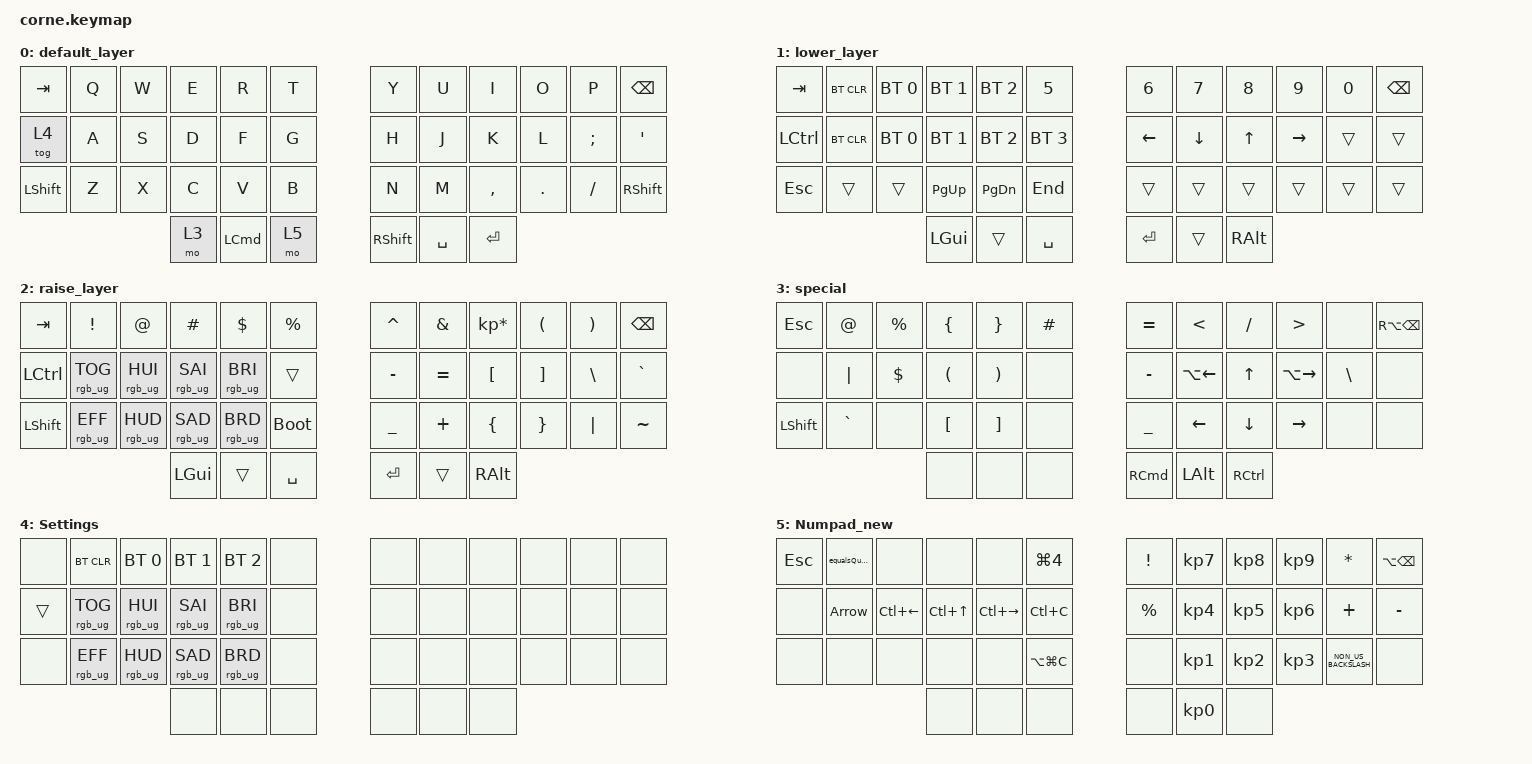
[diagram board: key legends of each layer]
/*
 * Copyright (c) 2020 The ZMK Contributors
 *
 * SPDX-License-Identifier: MIT
 */

#include <behaviors.dtsi>
#include <dt-bindings/zmk/bt.h>
#include <dt-bindings/zmk/keys.h>
#include <dt-bindings/zmk/rgb.h>

&led_strip { chain-length = <27>; };

/ {
    macros {
        equalsQuote: equalsQuote {
            compatible = "zmk,behavior-macro";
            #binding-cells = <0>;
            bindings = <&kp EQUAL &kp DQT &kp DQT &kp LEFT>;
            label = "equalsQuote";
        };

        Arrow: Arrow {
            compatible = "zmk,behavior-macro";
            #binding-cells = <0>;
            bindings = <&kp EQUAL &kp GREATER_THAN &kp SPACE>;
            label = "ARROW";
        };
    };

    keymap {
        compatible = "zmk,keymap";

        default_layer {
            // -----------------------------------------------------------------------------------------
            // |  TAB  |  Q  |  W  |  E  |  R  |  T  |   |  Y  |  U   |  I  |  O  |  P  | BKSP |
            // | GRAVE |  A  |  S  |  D  |  F  |  G  |   |  H  |  J   |  K  |  L  |  ;  |  '   |
            // | SHIFT |  Z  |  X  |  C  |  V  |  B  |   |  N  |  M   |  ,  |  .  |  /  | SHFT |
            //                     | MO3 | CMD | MO4 |   |RSHFT| SPC  | ENT |

            bindings = <
&kp TAB    &kp Q  &kp W  &kp E  &kp R             &kp T    &kp Y            &kp U      &kp I      &kp O    &kp P     &kp BSPC
&tog 4     &kp A  &kp S  &kp D  &kp F             &kp G    &kp H            &kp J      &kp K      &kp L    &kp SEMI  &kp SQT
&kp LSHFT  &kp Z  &kp X  &kp C  &kp V             &kp B    &kp N            &kp M      &kp COMMA  &kp DOT  &kp FSLH  &kp RSHFT
                         &mo 3  &kp LEFT_COMMAND  &mo 5    &kp RIGHT_SHIFT  &kp SPACE  &kp ENTER
            >;
        };

        lower_layer {
            // -----------------------------------------------------------------------------------------
            // |  TAB  | BTCLR| BT0 | BT1 | BT2 |  5  |   |  6  |  7  |  8  |  9  |  0  | BKSP |
            // | CTRL  | BTCLR| BT0 | BT1 | BT2 | BT3 |   | LFT | DWN | UP  | RGT |     |      |
            // | ESC   |      |     | PGUP| PGDN| END |   |     |     |     |     |     |      |
            //                      | GUI |     | SPC |   | ENT |     | ALT |

            bindings = <
&kp TAB    &bt BT_CLR  &bt BT_SEL 0  &bt BT_SEL 1  &bt BT_SEL 2  &kp N5          &kp N6    &kp N7    &kp N8    &kp N9     &kp N0  &kp BSPC
&kp LCTRL  &bt BT_CLR  &bt BT_SEL 0  &bt BT_SEL 1  &bt BT_SEL 2  &bt BT_SEL 3    &kp LEFT  &kp DOWN  &kp UP    &kp RIGHT  &trans  &trans
&kp ESC    &trans      &trans        &kp PG_UP     &kp PG_DN     &kp END         &trans    &trans    &trans    &trans     &trans  &trans
                                     &kp LGUI      &trans        &kp SPACE       &kp RET   &trans    &kp RALT
            >;
        };

        raise_layer {
            // -----------------------------------------------------------------------------------------
            // |  TAB  |   !   |   @   |   #   |   $   |   %   |   |   ^   |   &   |   *   |   (   |   )   | BKSP |
            // | CTRL  |RGB_TOG|RGB_HUI|RGB_SAI|RGB_BRI|       |   | MINUS | EQUAL |   [   |   ]   |   \   |  `   |
            // | SHIFT |RGB_EFF|RGB_HUD|RGB_SAD|RGB_BRD| BOOT  |   | UNDER | PLUS  |   {   |   }   |   |   |  ~   |
            //                                 | GUI |     | SPC |   | ENT   |       | ALT   |

            bindings = <
&kp TAB    &kp EXCL         &kp AT           &kp HASH         &kp DLLR         &kp PRCNT      &kp CARET  &kp AMPS   &kp KP_MULTIPLY  &kp LPAR  &kp RPAR  &kp BSPC
&kp LCTRL  &rgb_ug RGB_TOG  &rgb_ug RGB_HUI  &rgb_ug RGB_SAI  &rgb_ug RGB_BRI  &trans         &kp MINUS  &kp EQUAL  &kp LBKT         &kp RBKT  &kp BSLH  &kp GRAVE
&kp LSHFT  &rgb_ug RGB_EFF  &rgb_ug RGB_HUD  &rgb_ug RGB_SAD  &rgb_ug RGB_BRD  &bootloader    &kp UNDER  &kp PLUS   &kp LBRC         &kp RBRC  &kp PIPE  &kp TILDE
                                             &kp LGUI         &trans           &kp SPACE      &kp RET    &trans     &kp RALT
            >;
        };

        special {
            // -----------------------------------------------------------------------------------------
            // |       |   !   |   %   |   {   |   }   |     |   |       |       |       |      |     |      |
            // |       |       |   $   |   (   |   )   |     |   |       |       |  UP   |      |     |      |
            // | SHIFT |       |       |   [   |   ]   |     |   |       | LEFT  | DOWN  | RIGHT|     |      |
            //                                 |     |     |     |   | RCMD  | LALT  |       |

            bindings = <
&kp ESCAPE      &kp AT     &kp PERCENT  &kp LEFT_BRACE        &kp RIGHT_BRACE        &kp POUND    &kp EQUAL          &kp LESS_THAN  &kp SLASH          &kp GREATER_THAN  &none          &kp RA(BACKSPACE)
&none           &kp PIPE   &kp DOLLAR   &kp LEFT_PARENTHESIS  &kp RIGHT_PARENTHESIS  &none        &kp MINUS          &kp LA(LEFT)   &kp UP_ARROW       &kp LA(RIGHT)     &kp BACKSLASH  &none
&kp LEFT_SHIFT  &kp GRAVE  &none        &kp LEFT_BRACKET      &kp RIGHT_BRACKET      &none        &kp UNDER          &kp LEFT       &kp DOWN           &kp RIGHT         &none          &none
                                        &none                 &none                  &none        &kp RIGHT_COMMAND  &kp LEFT_ALT   &kp RIGHT_CONTROL
            >;
        };

        Settings {
            // -----------------------------------------------------------------------------------------
            // |       | BTCLR | BT0  | BT1  | BT2  |     |   |      |  7  |  8  |  9  |  *  |      |
            // |       |RGB_TOG|RGB_HUI|RGB_SAI|RGB_BRI|    |   |      |  4  |  5  |  6  |  +  |      |
            // |       |RGB_EFF|RGB_HUD|RGB_SAD|RGB_BRD|    |   |      |  1  |  2  |  3  |  \  |      |
            //                              |     |     |    |   |      |  0  |     |

            bindings = <
&none   &bt BT_CLR       &bt BT_SEL 0     &bt BT_SEL 1     &bt BT_SEL 2     &none    &none  &none  &none  &none  &none  &none
&trans  &rgb_ug RGB_TOG  &rgb_ug RGB_HUI  &rgb_ug RGB_SAI  &rgb_ug RGB_BRI  &none    &none  &none  &none  &none  &none  &none
&none   &rgb_ug RGB_EFF  &rgb_ug RGB_HUD  &rgb_ug RGB_SAD  &rgb_ug RGB_BRD  &none    &none  &none  &none  &none  &none  &none
                                          &none            &none            &none    &none  &none  &none
            >;
        };

        Numpad_new {
            bindings = <
&kp ESCAPE  &equalsQuote  &none         &none             &none          &kp LG(NUMBER_4)    &kp EXCLAMATION  &kp KP_NUMBER_7  &kp KP_NUMBER_8  &kp KP_NUMBER_9  &kp ASTERISK          &kp LA(BACKSPACE)
&none       &Arrow        &kp LC(LEFT)  &kp LC(UP_ARROW)  &kp LC(RIGHT)  &kp LC(C)           &kp PERCENT      &kp KP_NUMBER_4  &kp KP_NUMBER_5  &kp KP_NUMBER_6  &kp PLUS              &kp MINUS
&none       &none         &none         &none             &none          &kp LA(LG(C))       &none            &kp KP_NUMBER_1  &kp KP_NUMBER_2  &kp KP_NUMBER_3  &kp NON_US_BACKSLASH  &none
                                        &none             &none          &none               &none            &kp KP_NUMBER_0  &none
            >;
        };
    };
};
